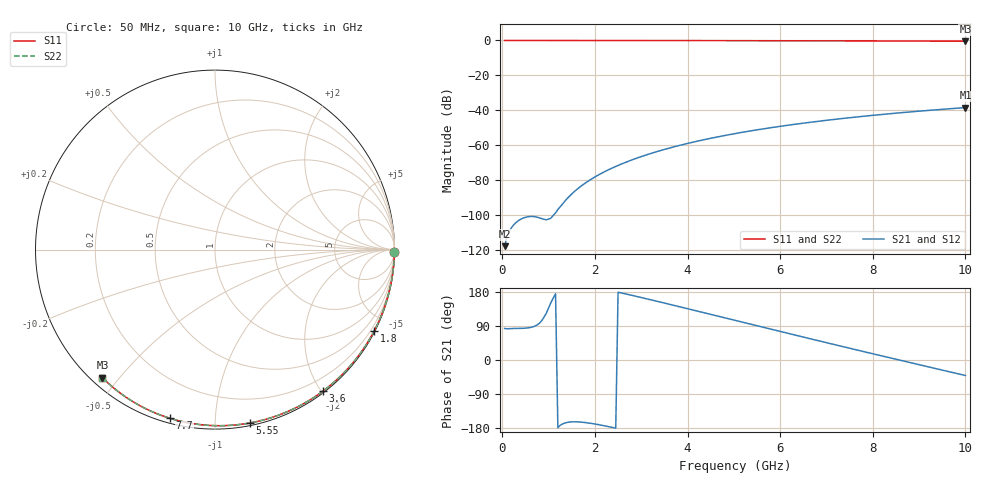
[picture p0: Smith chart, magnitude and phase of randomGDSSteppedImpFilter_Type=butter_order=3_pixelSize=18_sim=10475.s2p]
! freq	dB(S11)	phase(S11)	dB(S12)	phase(S12)
!  dB(S21)	phase(S21)	dB(S22)	phase(S22)
!S-par simulation data
#  GHz  S  DB  R 50
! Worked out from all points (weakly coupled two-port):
!   200 points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, 50 MHz to 10 GHz, reference 50 ohm
!   highest |S21| = -38.40 dB at 10 GHz (marker M1); lowest = -117.6 dB at 50 MHz (marker M2)
!   lowest |S11| = -0.4 dB at 10 GHz (marker M3), VSWR 39.13, Z = 1.54 - j22.6 ohm
!   |S11| at or under -10 dB: nowhere
!   |S22| runs from -0.4 to 0.0 dB; largest |S21 - S12| = 0
!   S11 on the Smith chart (normalised r, x): 50 MHz: open; 1.8 GHz: 0.04, -4.18; 3.6 GHz: 0.02, -2.02; 5.55 GHz: 0.02, -1.22; 7.7 GHz: 0.02, -0.77; 10 GHz: 0.03, -0.45
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0.05  -0.00 -0.8  -117.63 83.3  -117.63 83.3  -0.00 -0.8
0.9  -0.02 -13.6  -102.28 112.9  -102.28 112.9  -0.02 -13.6
1.75  -0.03 -26.2  -82.32 -164.5  -82.32 -164.5  -0.03 -26.2
1.8  -0.03 -26.9  -81.39 -165.2  -81.39 -165.2  -0.03 -26.9
1.85  -0.04 -27.6  -80.51 -166.0  -80.51 -166.0  -0.04 -27.6
1.9  -0.04 -28.4  -79.65 -166.9  -79.65 -166.9  -0.04 -28.4
2.05  -0.04 -30.6  -77.29 -170.0  -77.29 -170.0  -0.04 -30.6
2.25  -0.04 -33.5  -74.49 -174.7  -74.49 -174.7  -0.04 -33.5
2.45  -0.05 -36.4  -72.02 -179.8  -72.02 -179.8  -0.05 -36.4
2.65  -0.05 -39.2  -69.81 174.8  -69.81 174.8  -0.05 -39.2
3  -0.06 -44.2  -66.40 164.9  -66.40 164.9  -0.06 -44.2
3.4  -0.07 -49.8  -63.07 153.3  -63.07 153.3  -0.07 -49.8
3.6  -0.07 -52.6  -61.58 147.4  -61.58 147.4  -0.07 -52.6
4.3  -0.09 -62.2  -57.07 126.4  -57.07 126.4  -0.09 -62.2
5.05  -0.11 -72.1  -53.14 103.9  -53.14 103.9  -0.11 -72.1
5.55  -0.13 -78.6  -50.91 88.8  -50.91 88.8  -0.13 -78.6
6.1  -0.15 -85.6  -48.72 72.4  -48.72 72.4  -0.15 -85.6
6.7  -0.18 -93.0  -46.62 54.6  -46.62 54.6  -0.18 -93.0
7.7  -0.24 -105.0  -43.61 25.2  -43.61 25.2  -0.24 -105.0
8.35  -0.29 -112.6  -41.93 6.3  -41.93 6.3  -0.29 -112.6
9.15  -0.36 -121.7  -40.10 -16.7  -40.10 -16.7  -0.36 -121.7
10  -0.44 -131.3  -38.40 -40.9  -38.40 -40.9  -0.44 -131.3
